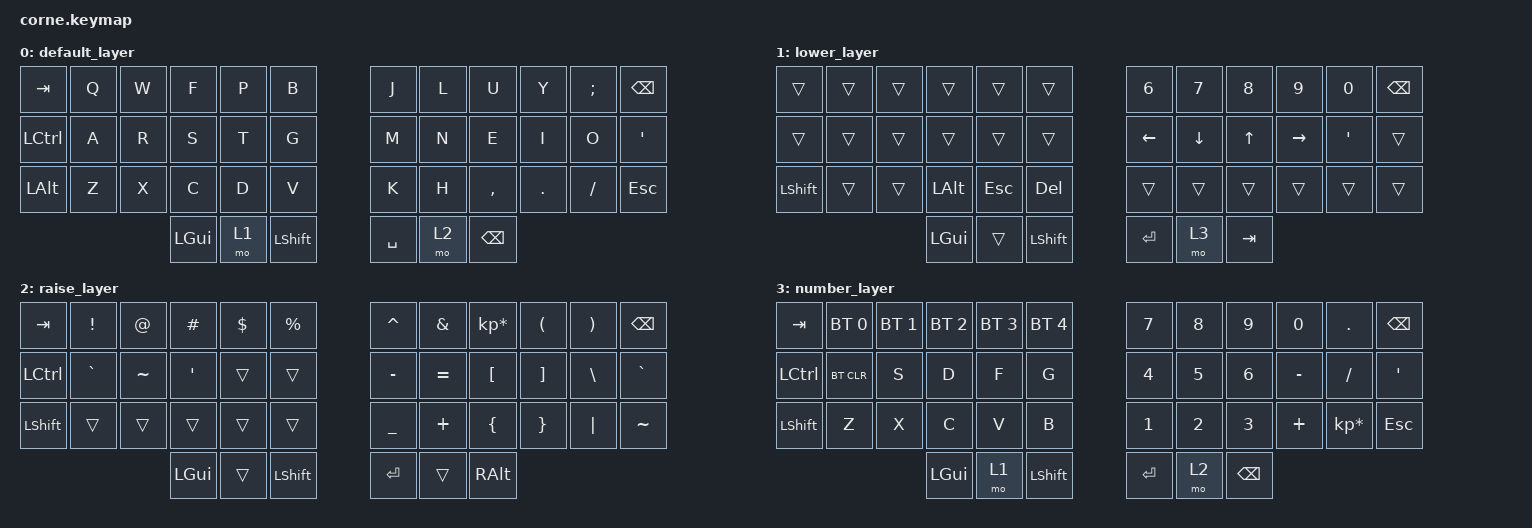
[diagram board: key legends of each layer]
/*
 * Copyright (c) 2020 The ZMK Contributors
 *
 * SPDX-License-Identifier: MIT
 */


#include <behaviors.dtsi>
#include <dt-bindings/zmk/keys.h>
#include <dt-bindings/zmk/bt.h>

                //                     ┏━━━━━━━━━┯━━━━━━━━━┯━━━━━━━━━┯━━━━━━━━━┯━━━━━━━━━┓     ┏━━━━━━━━━┯━━━━━━━━━┯━━━━━━━━━┯━━━━━━━━━┯━━━━━━━━━┓
                //                0    ┃  1      │  2      │  3      │  4      │  5      ┃     ┃  6      │  7      │  8      │  9      │  10     ┃    11
                //                     ┃         │         │         │         │         ┃     ┃         │         │         │         │         ┃    
                //                     ┠─────────┼─────────┼─────────┼─────────┼─────────┨     ┠─────────┼─────────┼─────────┼─────────┼─────────┨    
                //               12    ┃  13     │  14     │  15     │  16     │  17     ┃     ┃  18     │  19     │  20     │  21     │  22     ┃    23
                //                     ┃         │         │         │         │         ┃     ┃         │         │         │         │         ┃    
                //                     ┠─────────┼─────────┼─────────┼─────────┼─────────┨     ┠─────────┼─────────┼─────────┼─────────┼─────────┨    
                //               25    ┃  26     │  27     │  28     │  29     │  30     ┃     ┃  31     │  32     │  33     │  34     │  35     ┃    36
                //                     ┃         │         │         │         │         ┃     ┃         │         │         │         │         ┃    
                //                     ┠─────────┼─────────┼─────────┼─────────┼─────────┨     ┠─────────┼─────────┼─────────┼─────────┼─────────┨
                //                                         ┃ 37      │ 38      │ 39      ┃     ┃ 40      │ 41      │ 42      ┃          
                //                                         ┃         │         │         ┃     ┃         │         │         ┃          
                //                                         ┗━━━━━━━━━┷━━━━━━━━━┷━━━━━━━━━┛     ┗━━━━━━━━━┷━━━━━━━━━┷━━━━━━━━━┛

/ {
        keymap {
                compatible = "zmk,keymap";

                default_layer {

                        bindings = <
                                        // ┏━━━━━━━━━┯━━━━━━━━━┯━━━━━━━━━┯━━━━━━━━━┯━━━━━━━━━┓     ┏━━━━━━━━━┯━━━━━━━━━┯━━━━━━━━━┯━━━━━━━━━┯━━━━━━━━━┓
                                        // ┃  Q      │  W      │  F      │  P      │  B      ┃     ┃  J      │  L      │  U      │  Y      │  ;      ┃
                                &kp TAB     &kp Q     &kp W     &kp F     &kp P     &kp B           &kp J     &kp L      &kp U    &kp Y     &kp SEMI   &kp BSPC
                                        // ┠─────────┼─────────┼─────────┼─────────┼─────────┨     ┠─────────┼─────────┼─────────┼─────────┼─────────┨
                                        // ┃  A      │  R      │  S      │  T      │  G      ┃     ┃  M      │  N      │  E      │  I      │  O      │
                                &kp LCTRL    &kp A     &kp R     &kp S     &kp T     &kp G           &kp M     &kp N      &kp E    &kp I    &kp O      &kp SQT
                                        // ┠─────────┼─────────┼─────────┼─────────┼─────────┨     ┠─────────┼─────────┼─────────┼─────────┼─────────┨
                                        // ┃  Z      │  X      │  C      │  D      │  V      ┃     ┃  K      │  H      │  ,      │  .      │  /      │
                                &kp LALT     &kp Z     &kp X     &kp C     &kp D     &kp V           &kp K     &kp H     &kp COMMA  &kp DOT  &kp FSLH  &kp ESC
                                        // ┠─────────┼─────────┼─────────┼─────────┼─────────┨     ┠─────────┼─────────┼─────────┼─────────┼─────────┨
                                        //                     │ GUI     │ LWR     │ SHFT    │     │ SPC     │ RSE     │ BSPC    │          
                                                                &kp LGUI   &mo 1     &kp LSHFT       &kp SPACE  &mo 2    &kp BSPC
                                        //                     ┗━━━━━━━━━┷━━━━━━━━━┷━━━━━━━━━┛     ┗━━━━━━━━━┷━━━━━━━━━┷━━━━━━━━━┛
                        >;
                };
                lower_layer {
// -----------------------------------------------------------------------------------------
// |  TAB |  1  |  2  |  3  |  4  |  5  |   |  6  |  7  |  8  |  9  |  0  | BKSP |
// | BTCLR| BT1 | BT2 | BT3 | BT4 | BT5 |   | LFT | DWN |  UP | RGT |  '  |      |
// | SHFT |     |     |     |     |     |   |     |     |     |     |     |      |
//                    | GUI |     | SPC |   | ENT |     | ALT |

                        bindings = <
   &trans &trans &trans &trans &trans &trans   &kp N6   &kp N7   &kp N8 &kp N9    &kp N0 &kp BSPC        
   &trans &trans &trans &trans &trans &trans   &kp LEFT &kp DOWN &kp UP &kp RIGHT &kp SQT &trans
   &kp LSHFT  &trans       &trans   &kp LALT       &kp ESC       &kp DEL         &trans   &trans   &trans &trans    &trans &trans
                                    &kp LGUI     &trans       &kp LSHFT      &kp RET  &mo 3   &kp TAB
                        >;
                };

                raise_layer {
// -----------------------------------------------------------------------------------------
// |  TAB |  !  |  @  |  #  |  $  |  %  |   |  ^  |  &  |  *  |  (  |  )  | BKSP |
// | CTRL |  `  |  ~  |  '  |     |     |   |  -  |  =  |  [  |  ]  |  \  |  `   |
// | SHFT |     |     |     |     |     |   |  _  |  +  |  {  |  }  | "|" |  ~   |
//                    | GUI |     | SPC |   | ENT |     | ALT |

                        bindings = <
   &kp  TAB  &kp EXCL &kp AT &kp HASH &kp DLLR &kp PRCNT   &kp CARET &kp AMPS  &kp KP_MULTIPLY &kp LPAR &kp RPAR &kp BSPC
   &kp LCTRL &kp GRAVE   &kp TILDE &kp SQT   &trans   &trans      &kp MINUS &kp EQUAL &kp LBKT        &kp RBKT &kp BSLH &kp GRAVE
   &kp LSHFT &trans   &trans &trans   &trans   &trans      &kp UNDER &kp PLUS  &kp LBRC        &kp RBRC &kp PIPE &kp TILDE
                             &kp LGUI &trans   &kp LSHFT   &kp RET   &trans    &kp RALT
                        >;
                };

                number_layer {
                        bindings = <
                                        // ┏━━━━━━━━━━━━━┯━━━━━━━━━━━━━┯━━━━━━━━━━━━━┯━━━━━━━━━━━━━┯━━━━━━━━━━━━━┓     ┏━━━━━━━━━┯━━━━━━━━━┯━━━━━━━━━┯━━━━━━━━━┯━━━━━━━━━┓
                                        // ┃  BT1        │  BT2        │  BT3        │  BT4        │  BT5        ┃     ┃  7      │  8      │  9      │  0      │  .      ┃
                                &kp TAB     &bt BT_SEL 0  &bt BT_SEL 1  &bt BT_SEL 2  &bt BT_SEL 3  &bt BT_SEL 4        &kp N7     &kp N8    &kp N9    &kp N0    &kp DOT   &kp BSPC
                                        // ┠─────────────┼─────────────┼─────────────┼─────────────┼─────────────┨     ┠─────────┼─────────┼─────────┼─────────┼─────────┨
                                        // ┃  BTCLR      │  S          │  D          │  F          │  G          ┃     ┃  4      │  5      │  6      │  -      │  /      │
                                &kp LCTRL    &bt BT_CLR    &kp S        &kp D         &kp F         &kp G               &kp N4    &kp N5    &kp N6    &kp MINUS &kp FSLH  &kp SQT
                                        // ┠─────────────┼─────────────┼─────────────┼─────────────┼─────────────┨     ┠─────────┼─────────┼─────────┼─────────┼─────────┨
                                        // ┃  Z          │  X          │  C          │  V          │  B          ┃     ┃  1      │  2      │  3      │  +      │  *      │
                                &kp LSHFT    &kp Z         &kp X         &kp C         &kp V         &kp B               &kp N1     &kp N2    &kp N3   &kp PLUS  &kp KP_MULTIPLY  &kp ESC
                                        // ┠─────────────┼─────────────┼─────────────┼─────────────┼─────────────┨     ┠─────────┼─────────┼─────────┼─────────┼─────────┨
                                        //                             │ GUI         │ LWR         │ SHFT        │     │ ENT     │ RSE     │ BSPC    │          
                                                                        &kp LGUI       &mo 1         &kp LSHFT           &kp RET  &mo 2      &kp BSPC
                                        //                             ┗━━━━━━━━━━━━━┷━━━━━━━━━━━━━┷━━━━━━━━━━━━━┛     ┗━━━━━━━━━┷━━━━━━━━━┷━━━━━━━━━┛
                        >;
                };
        };
};
